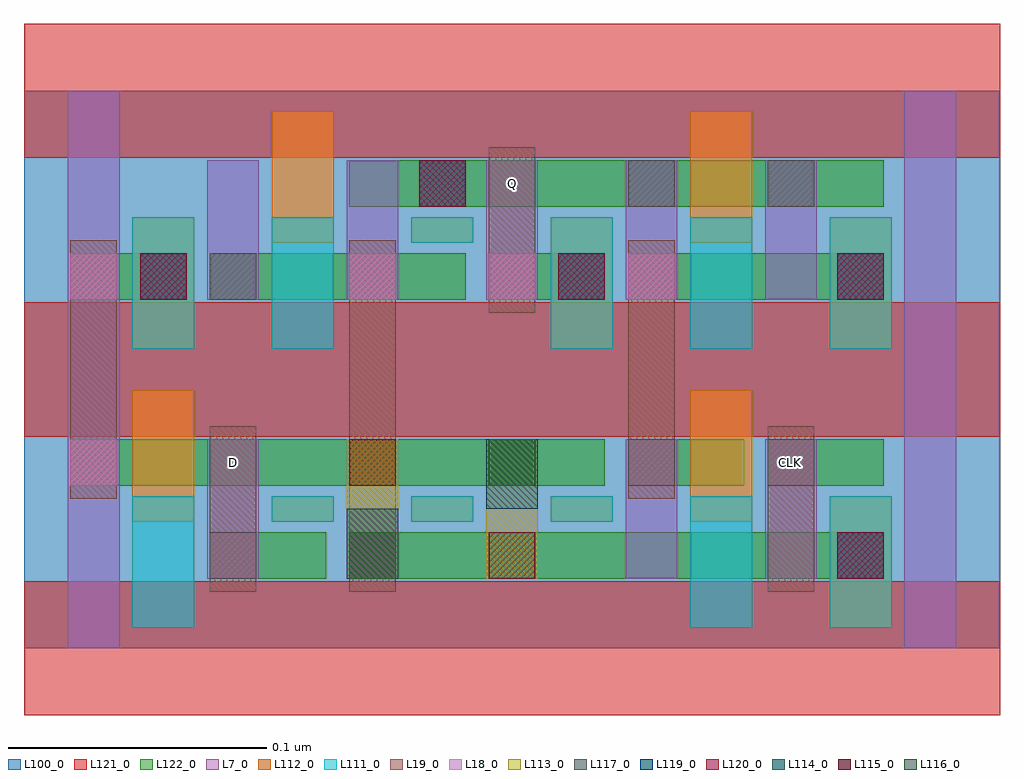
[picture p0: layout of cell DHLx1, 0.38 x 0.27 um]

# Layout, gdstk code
import gdstk
lib = gdstk.Library(unit=1e-6, precision=2.5e-10)
def R(c, l, rs):  # rectangles x0, y0, x1, y1
    for r in rs: c.add(gdstk.rectangle(r[:2], r[2:], *l))
def A(c, l, x, y, w, h, nx, ny, dx, dy):  # array of equal rectangles
    R(c, l, [(x+i*dx, y+j*dy, x+i*dx+w, y+j*dy+h) for i in range(nx) for j in range(ny)])
L7_0 = (7, 0)
L18_0 = (18, 0)
L19_0 = (19, 0)
L100_0 = (100, 0)
L111_0 = (111, 0)
L112_0 = (112, 0)
L113_0 = (113, 0)
L114_0 = (114, 0)
L115_0 = (115, 0)
L116_0 = (116, 0)
L117_0 = (117, 0)
L119_0 = (119, 0)
L120_0 = (120, 0)
L121_0 = (121, 0)
L122_0 = (122, 0)

dhlx1 = lib.new_cell('DHLx1')
A(dhlx1, L7_0, 0.071, 0.135, 0.02, 0.054, 5, 1, 0.054, 0)
R(dhlx1, L7_0, [(0.017,0,0.037,0.108), (0.341,0,0.361,0.108), (0.071,0.027,0.091,0.081), (0.233,0.027,0.253,0.081), (0.287,0.027,0.307,0.081), (0.017,0.108,0.037,0.216), (0.341,0.108,0.361,0.216)])
A(dhlx1, L18_0, 0.126, 0.135, 0.018, 0.018, 3, 1, 0.054, 0)
R(dhlx1, L18_0, [(0.072,0.027,0.09,0.045), (0.126,0.027,0.144,0.045), (0.018,0.063,0.036,0.081), (0.234,0.063,0.252,0.081), (0.288,0.063,0.306,0.081), (0.018,0.135,0.036,0.153)])
R(dhlx1, L19_0, [(0.072,0.022,0.09,0.086), (0.126,0.022,0.144,0.158), (0.288,0.022,0.306,0.086), (0.018,0.058,0.036,0.158), (0.234,0.058,0.252,0.158), (0.18,0.13,0.198,0.194)])
R(dhlx1, L100_0, [(0,0,0.378,0.216)])
A(dhlx1, L111_0, 0.096, 0.049, 0.024, 0.01, 3, 1, 0.054, 0)
A(dhlx1, L111_0, 0.204, 0.116, 0.024, 0.051, 3, 1, 0.054, 0)
R(dhlx1, L111_0, [(0.042,0.008,0.066,0.059), (0.258,0.008,0.282,0.059), (0.312,0.008,0.336,0.059), (0.042,0.116,0.066,0.167), (0.096,0.116,0.12,0.167), (0.15,0.157,0.174,0.167)])
A(dhlx1, L112_0, 0.096, 0.049, 0.024, 0.01, 3, 1, 0.054, 0)
R(dhlx1, L112_0, [(0.312,0.008,0.336,0.059), (0.042,0.049,0.066,0.1), (0.258,0.049,0.282,0.1), (0.042,0.116,0.066,0.167), (0.204,0.116,0.228,0.167), (0.312,0.116,0.336,0.167), (0.096,0.157,0.12,0.208), (0.15,0.157,0.174,0.167), (0.258,0.157,0.282,0.208)])
R(dhlx1, L113_0, [(0.125,0.027,0.145,0.081), (0.179,0.027,0.199,0.081)])
R(dhlx1, L114_0, [(0.125,0.027,0.145,0.054), (0.179,0.054,0.199,0.081)])
R(dhlx1, L115_0, [(0.18,0.027,0.198,0.045), (0.126,0.063,0.144,0.081)])
R(dhlx1, L116_0, [(0.126,0.027,0.144,0.045), (0.18,0.063,0.198,0.081)])
R(dhlx1, L117_0, [(0.072,0.027,0.09,0.045), (0.234,0.063,0.252,0.081), (0.288,0.063,0.306,0.081), (0.072,0.135,0.09,0.153), (0.234,0.171,0.252,0.189), (0.288,0.171,0.306,0.189)])
R(dhlx1, L119_0, [(0.315,0.027,0.333,0.045), (0.045,0.135,0.063,0.153), (0.207,0.135,0.225,0.153), (0.315,0.135,0.333,0.153), (0.153,0.171,0.171,0.189)])
R(dhlx1, L120_0, [(0.315,0.027,0.333,0.045), (0.045,0.135,0.063,0.153), (0.207,0.135,0.225,0.153), (0.315,0.135,0.333,0.153), (0.153,0.171,0.171,0.189)])
A(dhlx1, L121_0, 0, -0.026, 0.378, 0.052, 1, 3, 0, 0.108)
R(dhlx1, L122_0, [(0.072,0.027,0.117,0.045), (0.126,0.027,0.333,0.045), (0.018,0.063,0.225,0.081), (0.234,0.063,0.279,0.081), (0.288,0.063,0.333,0.081), (0.018,0.135,0.063,0.153), (0.072,0.135,0.171,0.153), (0.18,0.135,0.225,0.153), (0.234,0.135,0.333,0.153), (0.126,0.171,0.333,0.189)])
dhlx1.add(gdstk.Label('Q', (0.189,0.18), layer=19, texttype=251))
dhlx1.add(gdstk.Label('D', (0.081,0.072), layer=19, texttype=251))
dhlx1.add(gdstk.Label('CLK', (0.297,0.072), layer=19, texttype=251))

lib.write_gds('DHLx1.gds')
